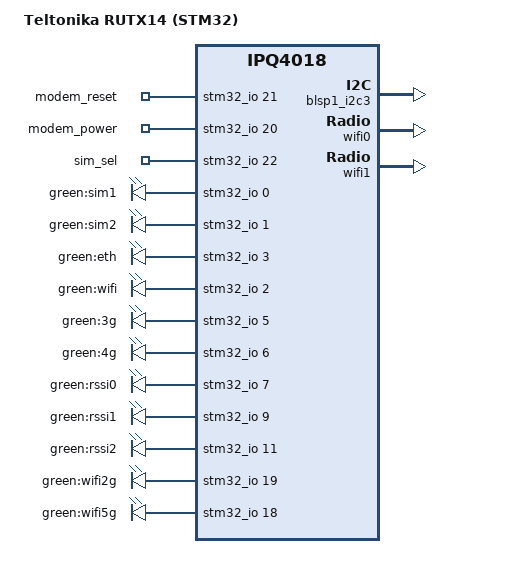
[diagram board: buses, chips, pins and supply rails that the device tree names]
// SPDX-License-Identifier: GPL-2.0-or-later OR MIT

#include "qcom-ipq4018-rutx-dsa.dtsi"

/ {
	model = "Teltonika RUTX14 (STM32)";
	compatible = "teltonika,rutx14-stm32";

	aliases {
		led-boot = &led_rssi0;
		led-failsafe = &led_rssi0;
		led-running = &led_rssi0;
		led-upgrade = &led_rssi0;
	};

	soc {
		gpio-export {
			compatible = "gpio-export";

			modem_reset {
				gpio-export,name = "modem_reset";
				gpio-export,output = <0>;
				gpios = <&stm32_io 21 GPIO_ACTIVE_HIGH>;
			};

			modem_power {
				gpio-export,name = "modem_power";
				gpio-export,output = <1>;
				gpios = <&stm32_io 20 GPIO_ACTIVE_HIGH>;
			};

			sim_sel {
				gpio-export,name = "sim_sel";
				gpio-export,output = <0>;
				gpios = <&stm32_io 22 GPIO_ACTIVE_HIGH>;
			};
		};

		leds {
			compatible = "gpio-leds";

			led-0 {
				label = "green:sim1";
				gpios = <&stm32_io 0 GPIO_ACTIVE_HIGH>;
			};

			led-1 {
				label = "green:sim2";
				gpios = <&stm32_io 1 GPIO_ACTIVE_HIGH>;
			};

			led-2 {
				label = "green:eth";
				gpios = <&stm32_io 3 GPIO_ACTIVE_HIGH>;
			};

			led-3 {
				label = "green:wifi";
				gpios = <&stm32_io 2 GPIO_ACTIVE_HIGH>;
			};

			led-4 {
				label = "green:3g";
				gpios = <&stm32_io 5 GPIO_ACTIVE_HIGH>;
			};

			led-5 {
				label = "green:4g";
				gpios = <&stm32_io 6 GPIO_ACTIVE_HIGH>;
			};

			led_rssi0: led-6 {
				label = "green:rssi0";
				gpios = <&stm32_io 7 GPIO_ACTIVE_HIGH>;
			};

			led-7 {
				label = "green:rssi1";
				gpios = <&stm32_io 9 GPIO_ACTIVE_HIGH>;
			};

			led-8 {
				label = "green:rssi2";
				gpios = <&stm32_io 11 GPIO_ACTIVE_HIGH>;
			};

			led-9 {
				label = "green:wifi2g";
				gpios = <&stm32_io 19 GPIO_ACTIVE_HIGH>;
				linux,default-trigger = "phy0tpt";
			};

			led-10 {
				label = "green:wifi5g";
				gpios = <&stm32_io 18 GPIO_ACTIVE_HIGH>;
				linux,default-trigger = "phy1tpt";
			};
		};
	};
};

&blsp1_i2c3 {
	status = "okay";
};

&wifi0 {
	status = "okay";
	qcom,ath10k-calibration-variant = "Teltonika-RUTX10";
};

&wifi1 {
	status = "okay";
	qcom,ath10k-calibration-variant = "Teltonika-RUTX10";
};
